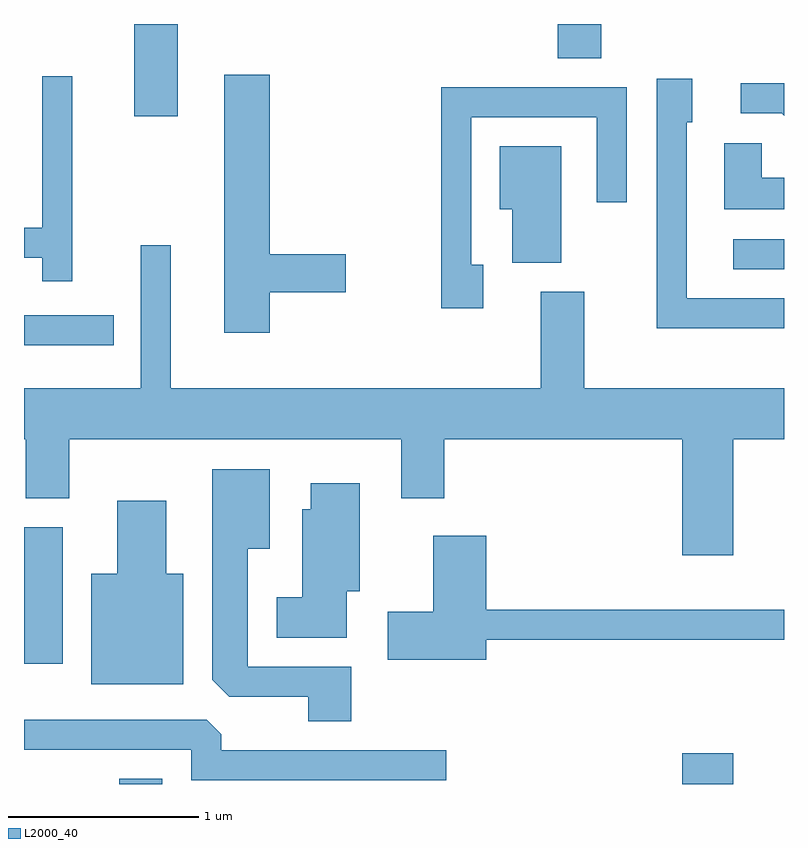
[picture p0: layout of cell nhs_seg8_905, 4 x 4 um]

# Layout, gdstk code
import gdstk
lib = gdstk.Library(unit=1e-6, precision=1e-09)
def R(c, l, rs):  # rectangles x0, y0, x1, y1
    for r in rs: c.add(gdstk.rectangle(r[:2], r[2:], *l))
def P(c, l, *ps):  # polygons
    for p in ps: c.add(gdstk.Polygon(p, *l))
L2000_40 = (2000, 40)

nhs_seg8_905 = lib.new_cell('nhs_seg8_905')
R(nhs_seg8_905, L2000_40, [(212.111,1872.342,212.339,1872.369), (215.076,1872.342,215.344,1872.504), (211.611,1872.976,211.814,1873.694), (211.611,1874.651,212.083,1874.809), (215.343,1875.051,215.611,1875.209), (212.191,1875.856,212.419,1876.342), (214.421,1876.161,214.649,1876.342)])
P(nhs_seg8_905, L2000_40, [(212.904,1874.931),(213.304,1874.931),(213.304,1875.129),(212.904,1875.129),(212.904,1876.074),(212.666,1876.074),(212.666,1874.716),(212.904,1874.716)],
  [(211.864,1876.068),(211.706,1876.068),(211.706,1875.269),(211.611,1875.269),(211.611,1875.111),(211.706,1875.111),(211.706,1874.988),(211.864,1874.988)],
  [(215.611,1874.899),(215.099,1874.899),(215.099,1875.826),(215.129,1875.826),(215.129,1876.054),(214.941,1876.054),(214.941,1874.741),(215.611,1874.741)],
  [(215.611,1876.029),(215.383,1876.029),(215.383,1875.871),(215.599,1875.871),(215.611,1875.859)],
  [(214.029,1875.074),(213.964,1875.074),(213.964,1875.851),(214.626,1875.851),(214.626,1875.403),(214.784,1875.403),(214.784,1876.009),(213.806,1876.009),(213.806,1874.846),(214.029,1874.846)],
  [(215.611,1875.534),(215.494,1875.534),(215.494,1875.714),(215.296,1875.714),(215.296,1875.366),(215.611,1875.366)],
  [(214.439,1875.699),(214.116,1875.699),(214.116,1875.366),(214.181,1875.366),(214.181,1875.086),(214.439,1875.086)],
  [(215.344,1874.156),(215.611,1874.156),(215.611,1874.424),(214.559,1874.424),(214.559,1874.934),(214.331,1874.934),(214.331,1874.424),(212.384,1874.424),(212.384,1875.178),(212.226,1875.178),(212.226,1874.424),(211.611,1874.424),(211.611,1874.156),(211.621,1874.156),(211.621,1873.846),(211.849,1873.846),(211.849,1874.156),(213.596,1874.156),(213.596,1873.846),(213.824,1873.846),(213.824,1874.156),(215.076,1874.156),(215.076,1873.546),(215.344,1873.546)],
  [(213.334,1872.959),(212.789,1872.959),(212.789,1873.581),(212.904,1873.581),(212.904,1873.999),(212.601,1873.999),(212.601,1872.892),(212.692,1872.801),(213.106,1872.801),(213.106,1872.671),(213.334,1872.671)],
  [(213.309,1873.356),(213.379,1873.356),(213.379,1873.924),(213.121,1873.924),(213.121,1873.789),(213.076,1873.789),(213.076,1873.324),(212.941,1873.324),(212.941,1873.111),(213.309,1873.111)],
  [(212.449,1873.449),(212.359,1873.449),(212.359,1873.834),(212.101,1873.834),(212.101,1873.449),(211.966,1873.449),(211.966,1872.866),(212.449,1872.866)],
  [(214.044,1873.101),(215.611,1873.101),(215.611,1873.259),(214.044,1873.259),(214.044,1873.649),(213.766,1873.649),(213.766,1873.249),(213.526,1873.249),(213.526,1872.996),(214.044,1872.996)],
  [(213.833,1872.519),(212.649,1872.519),(212.649,1872.604),(212.574,1872.679),(211.613,1872.679),(211.613,1872.521),(212.491,1872.521),(212.491,1872.361),(213.833,1872.361)])

lib.write_gds('nhs_seg8_905.gds')
